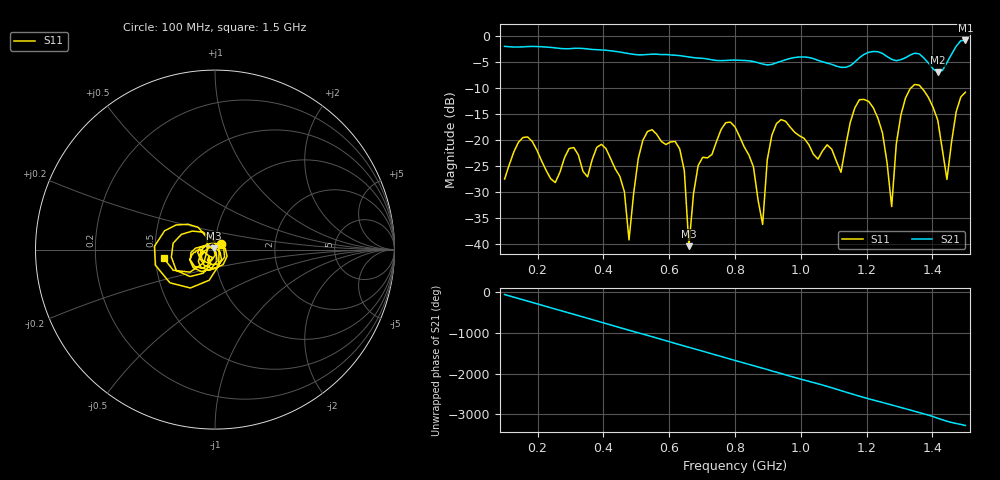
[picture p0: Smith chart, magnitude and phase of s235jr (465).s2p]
! NanoVNA-App
! Date: 2025-09-25 15:07:47
! Start: 100MHz Stop: 1,5GHz Points: 101
! S-Parameter data: F S11 S21 S12 S22
# Hz S RI R 50
!  Frequency  S11_Real  S11_Imag  S21_Real  S21_Imag  S12_Real  S12_Imag  S22_Real  S22_Imag
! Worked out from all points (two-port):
!   101 points, 100 MHz to 1.5 GHz, reference 50 ohm
!   highest |S21| = -0.83 dB at 1.5 GHz (marker M1); lowest = -6.9 dB at 1.416 GHz (marker M2)
!   |S21| within 3 dB of the highest: start of sweep to 640.8 MHz; 1.185 GHz to 1.26 GHz (74.53 MHz wide, 6.1 % of centre) (the widest 2 of 4)
!   lowest |S11| = -40.4 dB at 660 MHz (marker M3), VSWR 1.02, Z = 49.3 + j0.618 ohm
!   |S11| at or under -10 dB: start of sweep to 1.334 GHz; 1.368 GHz to end of sweep
!   S12 and S22 are empty: the file has one direction only
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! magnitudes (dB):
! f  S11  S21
! 100 MHz  -27.5  -2.0
! 170 MHz  -19.4  -2.0
! 338 MHz  -26.0  -2.4
! 408 MHz  -21.6  -2.7
! 478 MHz  -39.2  -3.4
! 520 MHz  -20.0  -3.6
! 576 MHz  -20.2  -3.5
! 632 MHz  -21.7  -3.7
! 660 MHz  -40.4  -4.0
! 688 MHz  -24.9  -4.2
! 800 MHz  -17.4  -4.6
! 884 MHz  -36.2  -5.4
! 926 MHz  -16.8  -5.1
! 1.038 GHz  -22.7  -4.3
! 1.122 GHz  -26.2  -6.0
! 1.206 GHz  -12.5  -3.1
! 1.276 GHz  -32.8  -4.5
! 1.29 GHz  -20.8  -4.7
! 1.332 GHz  -10.1  -3.6
! 1.416 GHz  -16.1  -6.9
! 1.444 GHz  -27.5  -5.1
! 1.5 GHz  -10.8  -0.8
